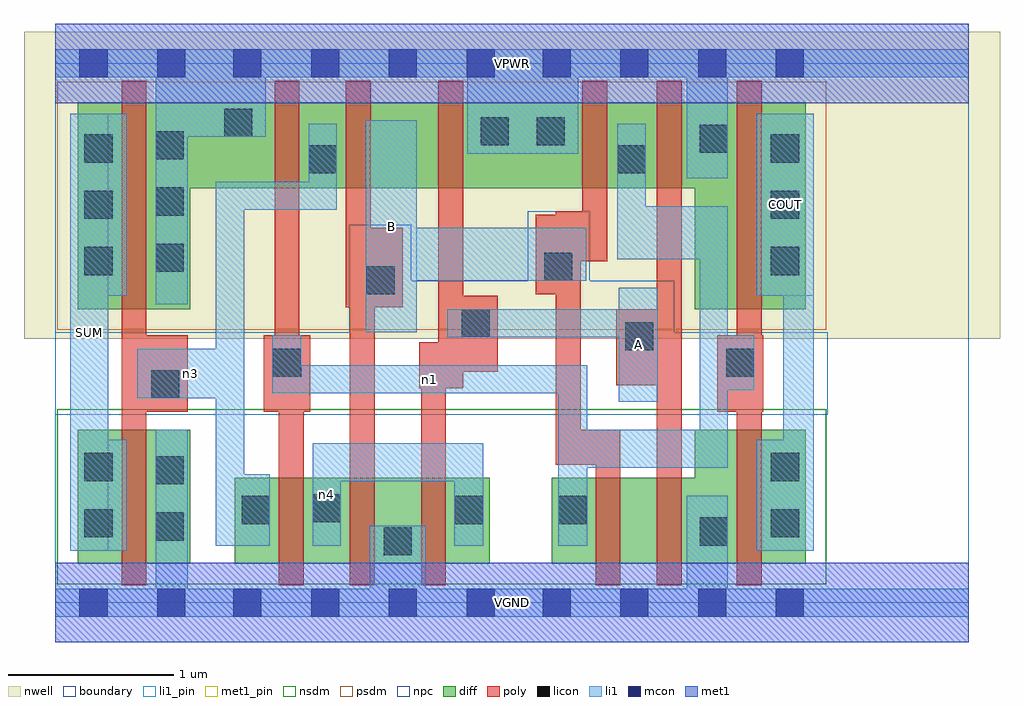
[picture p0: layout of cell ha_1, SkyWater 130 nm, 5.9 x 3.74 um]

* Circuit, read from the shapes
.subckt ha_1 A B COUT SUM VGND VPWR n1 n3 n4
XM1 VGND n3 SUM VSUBS sky130_fd_pr__nfet_01v8 w=0.81 l=0.15
XM2 n4 n1 n3 VSUBS sky130_fd_pr__nfet_01v8 w=0.52 l=0.15
XM3 VGND B n4 VSUBS sky130_fd_pr__nfet_01v8 w=0.52 l=0.15
XM4 n4 A VGND VSUBS sky130_fd_pr__nfet_01v8 w=0.52 l=0.15
XM5 n2 B n1 VSUBS sky130_fd_pr__nfet_01v8 w=0.52 l=0.15
XM6 VGND A n2 VSUBS sky130_fd_pr__nfet_01v8 w=0.52 l=0.15
XM7 COUT n1 VGND VSUBS sky130_fd_pr__nfet_01v8 w=0.81 l=0.15
XM8 VPWR n3 SUM n5 sky130_fd_pr__pfet_01v8 w=1.25 l=0.15
XM9 n3 n1 VPWR n5 sky130_fd_pr__pfet_01v8 w=0.52 l=0.15
XM10 n6 B n3 n5 sky130_fd_pr__pfet_01v8 w=0.52 l=0.15
XM11 VPWR A n6 n5 sky130_fd_pr__pfet_01v8 w=0.52 l=0.15
XM12 n1 B VPWR n5 sky130_fd_pr__pfet_01v8 w=0.52 l=0.15
XM13 VPWR A n1 n5 sky130_fd_pr__pfet_01v8 w=0.52 l=0.15
XM14 COUT n1 VPWR n5 sky130_fd_pr__pfet_01v8 w=1.25 l=0.15
.ends

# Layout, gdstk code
import gdstk
lib = gdstk.Library(unit=1e-6, precision=1e-09)
def R(c, l, rs):  # rectangles x0, y0, x1, y1
    for r in rs: c.add(gdstk.rectangle(r[:2], r[2:], *l))
def A(c, l, x, y, w, h, nx, ny, dx, dy):  # array of equal rectangles
    R(c, l, [(x+i*dx, y+j*dy, x+i*dx+w, y+j*dy+h) for i in range(nx) for j in range(ny)])
nwell = (64, 20)
diff = (65, 20)
poly = (66, 20)
licon = (66, 44)
li1_pin = (67, 16)
li1 = (67, 20)
mcon = (67, 44)
met1_pin = (68, 16)
met1 = (68, 20)
nsdm = (93, 44)
psdm = (94, 20)
npc = (95, 20)
boundary = (235, 4)

ha_1 = lib.new_cell('ha_1')
R(ha_1, nwell, [(-0.19,1.595,5.71,3.45), (0,1.595,5.52,3.45)])
R(ha_1, diff, [(0.135,0.235,0.815,1.045), (1.085,0.235,2.625,0.755), (3,0.235,4.535,0.755), (3.865,0.235,4.535,1.045), (0.135,1.775,0.815,3.025), (3.865,1.775,4.535,3.025), (0.135,2.505,4.535,3.025)])
R(ha_1, poly, [(0.4,0.105,0.55,3.155), (1.35,0.105,1.5,1.615), (1.78,0.105,1.93,2.265), (2.21,0.105,2.36,1.575), (3.265,0.105,3.415,1.045), (3.635,0.105,3.785,3.155), (4.12,0.105,4.27,3.155), (3.025,0.835,3.175,2.365), (3.025,0.835,3.415,1.045), (0.4,1.155,0.8,1.615), (1.26,1.155,1.54,1.615), (1.325,1.155,1.475,3.155), (4,1.155,4.28,1.615), (2.2,1.295,2.465,1.575), (2.315,1.295,2.465,3.155), (3.39,1.315,3.785,1.775), (2.315,1.395,2.675,1.855), (1.755,1.785,1.905,3.155), (1.755,1.785,2.1,2.265), (2.905,1.865,3.175,2.345), (3.025,2.065,3.335,2.365), (3.185,2.065,3.335,3.155)])
A(ha_1, licon, 0.175, 1.98, 0.17, 0.17, 1, 3, 0, 0.34)
A(ha_1, licon, 4.325, 1.98, 0.17, 0.17, 1, 3, 0, 0.34)
A(ha_1, licon, 0.605, 2, 0.17, 0.17, 1, 3, 0, 0.34)
R(ha_1, licon, [(1.985,0.285,2.155,0.455), (3.895,0.345,4.065,0.515), (0.605,0.375,0.775,0.545), (0.175,0.395,0.345,0.565), (4.325,0.395,4.495,0.565), (1.125,0.475,1.295,0.645), (2.415,0.475,2.585,0.645), (3.04,0.475,3.21,0.645), (1.555,0.485,1.725,0.655), (0.605,0.715,0.775,0.885), (0.175,0.735,0.345,0.905), (4.325,0.735,4.495,0.905), (0.58,1.235,0.75,1.405), (1.315,1.365,1.485,1.535), (4.055,1.365,4.225,1.535), (3.445,1.525,3.615,1.695), (2.455,1.605,2.625,1.775), (1.88,1.865,2.05,2.035), (2.955,1.945,3.125,2.115), (1.53,2.595,1.7,2.765), (3.4,2.595,3.57,2.765), (3.895,2.72,4.065,2.89), (2.57,2.765,2.74,2.935), (2.91,2.765,3.08,2.935), (1.02,2.815,1.19,2.985)])
R(ha_1, li1_pin, [(0.09,0.315,0.32,2.955), (3.405,1.215,3.64,1.905), (1.875,1.635,2.185,2.915), (4.24,1.855,4.585,2.955)])
R(ha_1, li1, [(0,-0.085,5.52,0.085), (0.605,-0.085,0.8,1.045), (1.9,-0.085,2.24,0.465), (3.815,-0.085,4.065,0.645), (0.09,0.315,0.32,2.955), (0.09,0.315,0.43,0.985), (4.24,0.315,4.585,0.985), (4.4,0.315,4.585,2.955), (0.97,0.345,1.14,2.545), (0.97,0.345,1.295,0.775), (1.555,0.345,1.725,0.965), (2.41,0.345,2.585,0.965), (3.04,0.345,3.215,1.435), (1.555,0.735,2.585,0.965), (3.04,0.815,4.065,1.045), (3.895,0.815,4.065,2.395), (3.405,1.215,3.64,1.905), (0.495,1.235,1.14,1.535), (1.31,1.265,3.215,1.435), (1.31,1.265,1.485,1.615), (3.895,1.285,4.225,1.615), (2.37,1.605,3.64,1.775), (1.875,1.635,2.185,2.915), (0.605,1.805,0.8,3.345), (0.09,1.855,0.43,2.955), (4.24,1.855,4.585,2.955), (1.875,1.945,3.21,2.265), (3.395,2.075,3.57,2.895), (3.395,2.075,4.065,2.395), (0.97,2.375,1.7,2.545), (1.53,2.375,1.7,2.895), (3.815,2.565,4.065,3.345), (2.49,2.715,3.16,3.345), (0.605,2.815,1.27,3.345), (0,3.175,5.52,3.345)])
A(ha_1, mcon, 1.075, -0.085, 0.17, 0.17, 4, 2, 0.47, 3.26)
A(ha_1, mcon, 2.945, -0.085, 0.17, 0.17, 4, 2, 0.47, 3.26)
R(ha_1, mcon, [(0.145,-0.085,0.315,0.085), (0.615,-0.085,0.785,0.085), (0.145,3.175,0.315,3.345), (0.615,3.175,0.785,3.345)])
R(ha_1, met1_pin, [(0,-0.24,5.52,0.24), (0,3.02,5.52,3.5)])
R(ha_1, met1, [(0,-0.24,5.52,0.24), (0,3.02,5.52,3.5)])
R(ha_1, nsdm, [(0.01,0.11,4.66,1.17)])
R(ha_1, psdm, [(0.01,1.65,4.66,3.15)])
R(ha_1, npc, [(0,1.135,4.67,1.635), (1.775,1.135,3.23,1.875), (1.775,1.135,2.15,2.285), (1.775,1.135,3.74,1.945), (2.855,1.135,3.23,2.365)])
R(ha_1, boundary, [(0,0,5.52,3.26)])
ha_1.add(gdstk.Label('A', (3.522,1.56), layer=67, texttype=5))
ha_1.add(gdstk.Label('B', (2.03,2.275), layer=67, texttype=5))
ha_1.add(gdstk.Label('COUT', (4.412,2.405), layer=67, texttype=5))
ha_1.add(gdstk.Label('SUM', (0.205,1.635), layer=67, texttype=5))
ha_1.add(gdstk.Label('n4', (1.64,0.655), layer=67, texttype=5))
ha_1.add(gdstk.Label('n3', (0.817,1.385), layer=67, texttype=5))
ha_1.add(gdstk.Label('n1', (2.262,1.35), layer=67, texttype=5))
ha_1.add(gdstk.Label('VPWR', (2.76,3.26), layer=68, texttype=5))
ha_1.add(gdstk.Label('VGND', (2.76,0), layer=68, texttype=5))
ha_1.add(gdstk.Label('A', (3.522,1.56), layer=67, texttype=16))
ha_1.add(gdstk.Label('B', (2.03,2.275), layer=67, texttype=16))
ha_1.add(gdstk.Label('COUT', (4.412,2.405), layer=67, texttype=16))
ha_1.add(gdstk.Label('SUM', (0.205,1.635), layer=67, texttype=16))
ha_1.add(gdstk.Label('VPWR', (2.76,3.26), layer=68, texttype=16))
ha_1.add(gdstk.Label('VGND', (2.76,0), layer=68, texttype=16))

lib.write_gds('ha_1.gds')
